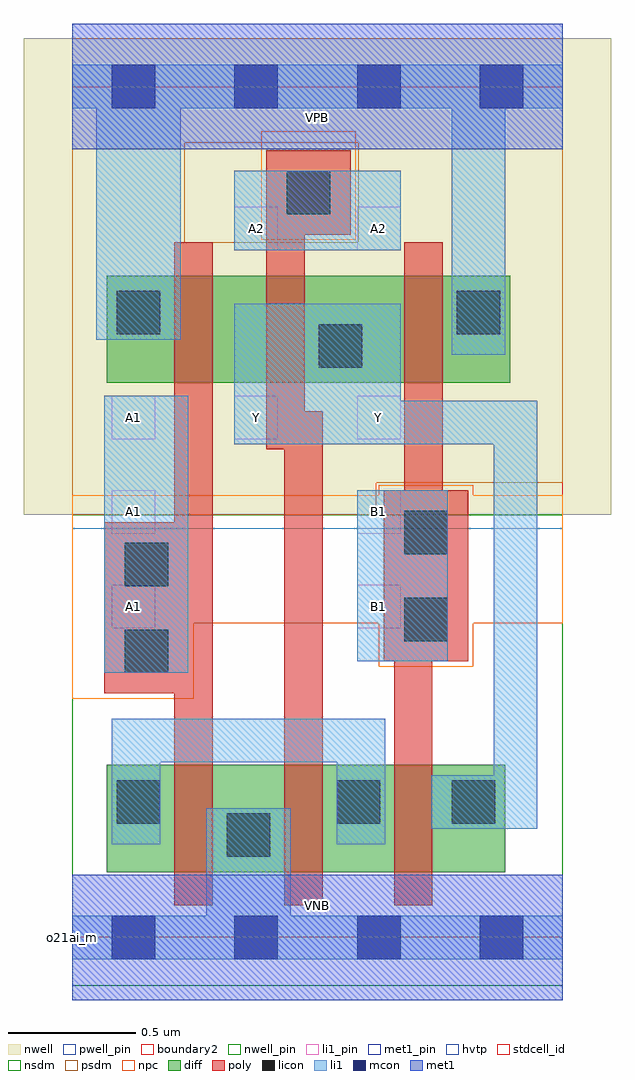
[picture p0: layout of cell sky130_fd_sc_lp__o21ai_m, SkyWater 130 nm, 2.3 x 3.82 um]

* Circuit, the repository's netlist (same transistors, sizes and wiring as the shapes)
* Copyright 2020 The SkyWater PDK Authors
*
* Licensed under the Apache License, Version 2.0 (the "License");
* you may not use this file except in compliance with the License.
* You may obtain a copy of the License at
*
*     https://www.apache.org/licenses/LICENSE-2.0
*
* Unless required by applicable law or agreed to in writing, software
* distributed under the License is distributed on an "AS IS" BASIS,
* WITHOUT WARRANTIES OR CONDITIONS OF ANY KIND, either express or implied.
* See the License for the specific language governing permissions and
* limitations under the License.
*
* SPDX-License-Identifier: Apache-2.0

.SUBCKT sky130_fd_sc_lp__o21ai_m A1 A2 B1 VGND VNB VPB VPWR Y
*.PININFO A1:I A2:I B1:I VGND:I VNB:I VPB:I VPWR:I Y:O
MMPA0 VPWR A1 sndA1 VPB sky130_fd_pr__pfet_01v8_hvt m=1 w=0.42U l=0.15U mult=1
+ sa=0.265 sb=0.265 sd=0.28 area=0.063 perim=1.14
MMPA1 sndA1 A2 Y VPB sky130_fd_pr__pfet_01v8_hvt m=1 w=0.42U l=0.15U mult=1 sa=0.265
+ sb=0.265 sd=0.28 area=0.063 perim=1.14
MMPB0 VPWR B1 Y VPB sky130_fd_pr__pfet_01v8_hvt m=1 w=0.42U l=0.15U mult=1 sa=0.265
+ sb=0.265 sd=0.28 area=0.063 perim=1.14
MMNA0 pndA A1 VGND VNB sky130_fd_pr__nfet_01v8 m=1 w=0.42U l=0.15U mult=1 sa=0.265
+ sb=0.265 sd=0.28 area=0.063 perim=1.14
MMNA1 pndA A2 VGND VNB sky130_fd_pr__nfet_01v8 m=1 w=0.42U l=0.15U mult=1 sa=0.265
+ sb=0.265 sd=0.28 area=0.063 perim=1.14
MMNB0 Y B1 pndA VNB sky130_fd_pr__nfet_01v8 m=1 w=0.42U l=0.15U mult=1 sa=0.265
+ sb=0.265 sd=0.28 area=0.063 perim=1.14
.ENDS sky130_fd_sc_lp__o21ai_m

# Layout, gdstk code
import gdstk
lib = gdstk.Library(unit=1e-6, precision=1e-09)
def R(c, l, rs):  # rectangles x0, y0, x1, y1
    for r in rs: c.add(gdstk.rectangle(r[:2], r[2:], *l))
def A(c, l, x, y, w, h, nx, ny, dx, dy):  # array of equal rectangles
    R(c, l, [(x+i*dx, y+j*dy, x+i*dx+w, y+j*dy+h) for i in range(nx) for j in range(ny)])
def P(c, l, *ps):  # polygons
    for p in ps: c.add(gdstk.Polygon(p, *l))
nwell_pin = (64, 16)
nwell = (64, 20)
diff = (65, 20)
poly = (66, 20)
licon = (66, 44)
li1_pin = (67, 16)
li1 = (67, 20)
mcon = (67, 44)
met1_pin = (68, 16)
met1 = (68, 20)
hvtp = (78, 44)
stdcell_id = (81, 4)
nsdm = (93, 44)
psdm = (94, 20)
npc = (95, 20)
pwell_pin = (122, 16)
boundary2 = (236, 0)

sky130_fd_sc_lp__o21ai_m = lib.new_cell('sky130_fd_sc_lp__o21ai_m')
R(sky130_fd_sc_lp__o21ai_m, nwell_pin, [(0,3.085,1.92,3.33)])
R(sky130_fd_sc_lp__o21ai_m, nwell, [(-0.19,1.655,2.11,3.52)])
R(sky130_fd_sc_lp__o21ai_m, diff, [(0.135,0.255,1.695,0.675), (0.135,2.17,1.715,2.59)])
P(sky130_fd_sc_lp__o21ai_m, poly, [(0.55,2.72),(0.4,2.72),(0.4,1.625),(0.125,1.625),(0.125,0.955),(0.4,0.955),(0.4,0.125),(0.55,0.125)],
  [(1.09,3.08),(0.76,3.08),(0.76,1.91),(0.83,1.91),(0.83,0.125),(0.98,0.125),(0.98,2.06),(0.91,2.06),(0.91,2.75),(1.09,2.75)],
  [(1.55,1.75),(1.45,1.75),(1.45,2.72),(1.3,2.72),(1.3,1.75),(1.22,1.75),(1.22,1.08),(1.26,1.08),(1.26,0.125),(1.41,0.125),(1.41,1.08),(1.55,1.08)])
R(sky130_fd_sc_lp__o21ai_m, licon, [(0.605,0.315,0.775,0.485), (0.175,0.445,0.345,0.615), (1.035,0.445,1.205,0.615), (1.485,0.445,1.655,0.615), (0.205,1.035,0.375,1.205), (1.3,1.16,1.47,1.33), (0.205,1.375,0.375,1.545), (1.3,1.5,1.47,1.67), (0.965,2.23,1.135,2.4), (0.175,2.36,0.345,2.53), (1.505,2.36,1.675,2.53), (0.84,2.83,1.01,3)])
A(sky130_fd_sc_lp__o21ai_m, li1_pin, 0.155, 1.95, 0.17, 0.17, 3, 1, 0.48, 0)
R(sky130_fd_sc_lp__o21ai_m, li1_pin, [(0.155,1.21,0.325,1.38), (1.115,1.21,1.285,1.38), (0.155,1.58,0.325,1.75), (1.115,1.58,1.285,1.75), (0.635,2.69,0.805,2.86), (1.115,2.69,1.285,2.86)])
R(sky130_fd_sc_lp__o21ai_m, li1, [(0.125,1.035,0.455,2.12), (1.115,1.08,1.47,1.75), (0.635,2.69,1.285,3)])
P(sky130_fd_sc_lp__o21ai_m, li1, [(1.485,2.28),(1.485,3.245),(0.425,3.245),(0.425,2.34),(0.095,2.34),(0.095,3.245),(0,3.245),(0,3.415),(1.92,3.415),(1.92,3.245),(1.695,3.245),(1.695,2.28)],
  [(0.525,0.085),(0.525,0.505),(0.855,0.505),(0.855,0.085),(1.92,0.085),(1.92,-0.085),(0,-0.085),(0,0.085)],
  [(0.635,1.93),(0.635,2.48),(1.285,2.48),(1.285,2.1),(1.82,2.1),(1.82,0.425),(1.405,0.425),(1.405,0.635),(1.65,0.635),(1.65,1.93)],
  [(1.035,0.365),(1.035,0.685),(0.345,0.685),(0.345,0.365),(0.155,0.365),(0.155,0.855),(1.225,0.855),(1.225,0.365)])
A(sky130_fd_sc_lp__o21ai_m, mcon, 0.155, -0.085, 0.17, 0.17, 4, 2, 0.48, 3.33)
R(sky130_fd_sc_lp__o21ai_m, met1_pin, [(0,0,1.92,0.245), (0,3.085,1.92,3.33)])
R(sky130_fd_sc_lp__o21ai_m, met1, [(0,-0.245,1.92,0.245), (0,3.085,1.92,3.575)])
R(sky130_fd_sc_lp__o21ai_m, hvtp, [(0,1.6,1.92,3.33)])
R(sky130_fd_sc_lp__o21ai_m, stdcell_id, [(0,0,1.92,3.33)])
R(sky130_fd_sc_lp__o21ai_m, nsdm, [(0,-0.19,1.92,1.655)])
P(sky130_fd_sc_lp__o21ai_m, psdm, [(1.92,3.52),(1.12,3.52),(1.12,2.72),(0.44,2.72),(0.44,3.11),(1.12,3.11),(1.12,3.52),(0,3.52),(0,1.655),(1.19,1.655),(1.19,1.78),(1.92,1.78)])
R(sky130_fd_sc_lp__o21ai_m, npc, [(0.74,2.73,1.11,3.155)])
P(sky130_fd_sc_lp__o21ai_m, npc, [(1.92,1.73),(1.57,1.73),(1.57,1.77),(1.2,1.77),(1.2,1.73),(0,1.73),(0,0.935),(0.475,0.935),(0.475,1.23),(1.2,1.23),(1.2,1.06),(1.57,1.06),(1.57,1.23),(1.92,1.23)])
R(sky130_fd_sc_lp__o21ai_m, pwell_pin, [(0,0,1.92,0.245)])
R(sky130_fd_sc_lp__o21ai_m, boundary2, [(0,0,1.92,3.33)])
sky130_fd_sc_lp__o21ai_m.add(gdstk.Label('VNB', (0.96,0.123), layer=64, texttype=59))
sky130_fd_sc_lp__o21ai_m.add(gdstk.Label('VPB', (0.96,3.208), layer=64, texttype=5))
sky130_fd_sc_lp__o21ai_m.add(gdstk.Label('o21ai_m', (0,0), layer=83, texttype=44))
sky130_fd_sc_lp__o21ai_m.add(gdstk.Label('VPWR', (0.96,3.208), layer=68, texttype=5))
sky130_fd_sc_lp__o21ai_m.add(gdstk.Label('VGND', (0.96,0.123), layer=68, texttype=5))
sky130_fd_sc_lp__o21ai_m.add(gdstk.Label('A1', (0.24,1.295), layer=67, texttype=5))
sky130_fd_sc_lp__o21ai_m.add(gdstk.Label('A1', (0.24,1.665), layer=67, texttype=5))
sky130_fd_sc_lp__o21ai_m.add(gdstk.Label('A1', (0.24,2.035), layer=67, texttype=5))
sky130_fd_sc_lp__o21ai_m.add(gdstk.Label('A2', (0.72,2.775), layer=67, texttype=5))
sky130_fd_sc_lp__o21ai_m.add(gdstk.Label('A2', (1.2,2.775), layer=67, texttype=5))
sky130_fd_sc_lp__o21ai_m.add(gdstk.Label('Y', (0.72,2.035), layer=67, texttype=5))
sky130_fd_sc_lp__o21ai_m.add(gdstk.Label('Y', (1.2,2.035), layer=67, texttype=5))
sky130_fd_sc_lp__o21ai_m.add(gdstk.Label('B1', (1.2,1.295), layer=67, texttype=5))
sky130_fd_sc_lp__o21ai_m.add(gdstk.Label('B1', (1.2,1.665), layer=67, texttype=5))

lib.write_gds('sky130_fd_sc_lp__o21ai_m.gds')
